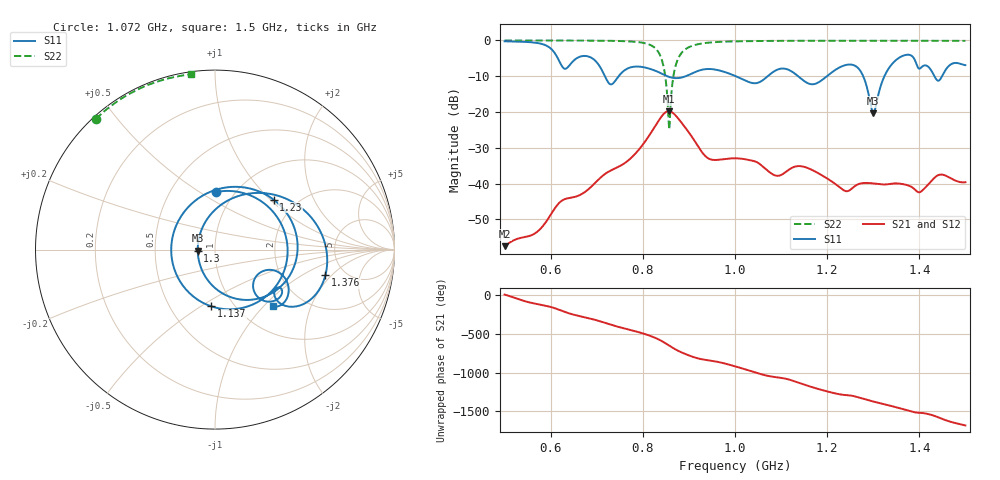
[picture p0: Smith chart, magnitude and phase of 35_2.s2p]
! TOUCHSTONE file generated by CST MICROWAVE STUDIO
! Date and time: Mon Nov 30 09:11:26 2020
! Project name: Scenario_1_Planar_Body_Tissue_Out_of_Line_v2.cst
! Parameters = {dy1=242.2; L_HA=400; Ltissue=700; MT=2.54; Rad_Dielectric=30; Rad_Lower=7.3; Rad_Upper=30; Wtissue=700; a_HA=580; a_WG=246; b_HA=500; b_WG=121; c_HA=0; c_WG=187; d_feed=85; dx1=346; h_feed=15; h_lower=18; h_upper=40; hfat=3; hgap=25; hmuscle=50; hskin=1.5}
! Header version: 2018
! Port assignment regex: !\s*Touchstone port\s*([0-9]+)\s*=\s*(CST MWS port|CST DS port)\s*([0-9]+|Zmin|Zmax)\s*\(\"(.*)\"\)(\s*mode\s*([0-9]+))?.*
! Touchstone port assignment:
! Touchstone port 1 = CST MWS port 1 ("")
! Touchstone port 2 = CST MWS port 2 ("")
# GHz S DB R 50
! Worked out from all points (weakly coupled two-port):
!   1003 points, 500 MHz to 1.5 GHz, reference 50 ohm
!   highest |S21| = -19.76 dB at 856 MHz (marker M1); lowest = -57.5 dB at 500 MHz (marker M2)
!   lowest |S11| = -20.3 dB at 1.3 GHz (marker M3), VSWR 1.21, Z = 41.2 - j0.469 ohm
!   |S11| at or under -10 dB: 1.002 GHz to 1.071 GHz (69.2 MHz wide, 6.68 % of centre); 1.137 GHz to 1.199 GHz (62.32 MHz wide, 5.34 % of centre); 1.278 GHz to 1.324 GHz (46.02 MHz wide, 3.54 % of centre)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
!   |S22| runs from -24.9 to 0.0 dB; largest |S21 - S12| = 2.8e-06
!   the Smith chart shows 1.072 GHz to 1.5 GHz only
!   S11 on the Smith chart (normalised r, x): 1.072 GHz: 0.82, +0.58; 1.137 GHz: 0.79, -0.55; 1.23 GHz: 1.53, +1.05; 1.3 GHz: 0.82, -0.01; 1.376 GHz: 3.57, -1.69; 1.5 GHz: 1.44, -1.13
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0.5  -0.25 -121.8  -57.49 9.4  -57.49 9.4  -0.01 151.1
0.578  -0.89 -164.8  -52.60 -121.4  -52.61 -121.4  -0.02 145.8
0.667  -4.41 157.5  -42.95 85.1  -42.95 85.1  -0.04 138.4
0.718  -10.09 29.8  -37.30 3.4  -37.30 3.4  -0.09 132.6
0.743  -10.77 -102.9  -35.58 -42.0  -35.58 -42.0  -0.15 128.8
0.773  -7.55 172.2  -33.01 -88.0  -33.01 -88.0  -0.29 122.3
0.834  -8.85 43.9  -22.47 150.9  -22.47 150.9  -3.31 82.7
0.856  -10.15 -12.0  -19.76 74.0  -19.76 74.0  -22.94 -8.8
0.876  -10.52 -69.9  -21.69 4.9  -21.69 4.9  -5.26 -168.1
0.911  -8.98 174.9  -27.80 -79.6  -27.80 -79.6  -1.34 161.7
0.942  -7.98 78.8  -32.95 -118.9  -32.95 -118.9  -0.63 150.9
1  -9.90 -54.5  -32.94 163.2  -32.94 163.2  -0.26 140.2
1.072  -9.89 89.4  -36.51 38.7  -36.51 38.7  -0.14 132.3
1.102  -7.86 -1.0  -37.47 12.2  -37.47 12.2  -0.12 129.5
1.137  -10.00 -94.0  -35.11 -46.5  -35.11 -46.5  -0.11 126.6
1.167  -12.25 -178.5  -36.17 -105.6  -36.17 -105.6  -0.10 124.2
1.23  -7.35 40.5  -41.34 158.7  -41.34 158.7  -0.09 119.3
1.273  -8.69 -47.6  -39.96 113.1  -39.96 113.1  -0.09 116.1
1.3  -20.32 -176.6  -39.94 68.5  -39.94 68.5  -0.08 114.1
1.334  -7.75 50.3  -40.13 18.9  -40.13 18.9  -0.08 111.5
1.376  -3.99 -13.1  -40.52 -49.8  -40.52 -49.8  -0.09 108.3
1.5  -6.91 -43.8  -39.62 119.5  -39.62 119.5  -0.12 97.9
